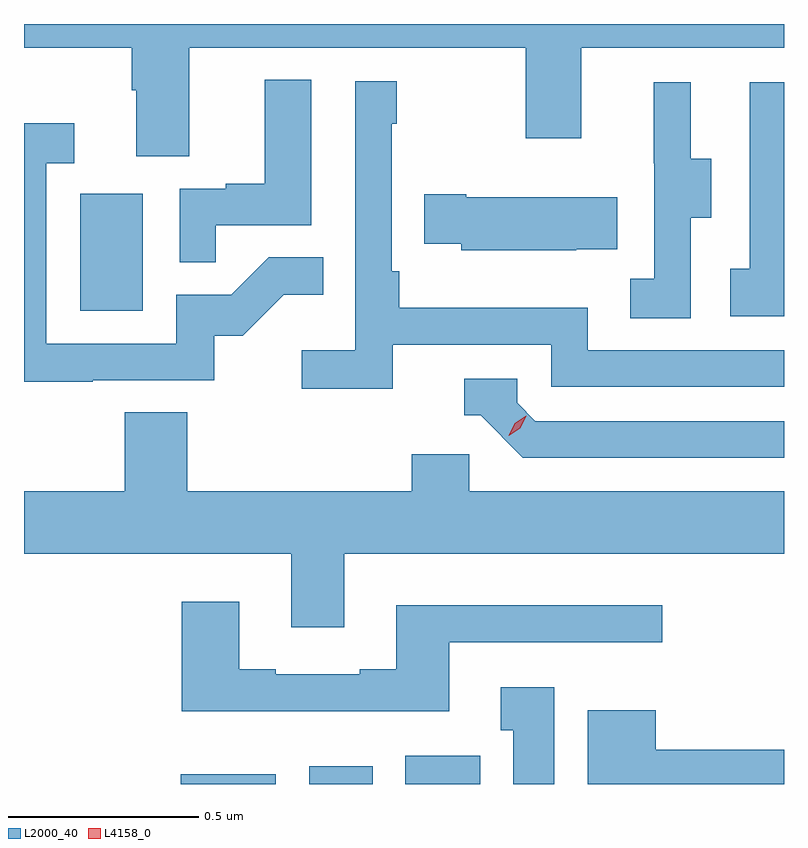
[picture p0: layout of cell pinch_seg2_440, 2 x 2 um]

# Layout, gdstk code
import gdstk
lib = gdstk.Library(unit=1e-6, precision=1e-09)
def R(c, l, rs):  # rectangles x0, y0, x1, y1
    for r in rs: c.add(gdstk.rectangle(r[:2], r[2:], *l))
def P(c, l, *ps):  # polygons
    for p in ps: c.add(gdstk.Polygon(p, *l))
L2000_40 = (2000, 40)
L4158_0 = (4158, 0)

pinch_seg2_440 = lib.new_cell('pinch_seg2_440')
R(pinch_seg2_440, L2000_40, [(942.362,617.726,942.613,617.752), (942.701,617.726,942.868,617.773), (942.953,617.726,943.15,617.8), (942.098,618.972,942.262,619.279)])
P(pinch_seg2_440, L2000_40, [(942.385,619.664),(943.27,619.664),(943.27,619.425),(943.417,619.425),(943.417,619.664),(943.95,619.664),(943.95,619.726),(941.95,619.726),(941.95,619.664),(942.233,619.664),(942.233,619.552),(942.245,619.552),(942.245,619.378),(942.385,619.378)],
  [(942.455,619.197),(942.706,619.197),(942.706,619.579),(942.584,619.579),(942.584,619.306),(942.481,619.306),(942.481,619.293),(942.36,619.293),(942.36,619.099),(942.455,619.099)],
  [(942.92,618.882),(943.338,618.882),(943.338,618.771),(943.95,618.771),(943.95,618.867),(943.434,618.867),(943.434,618.979),(942.938,618.979),(942.938,619.075),(942.918,619.075),(942.918,619.463),(942.931,619.463),(942.931,619.576),(942.822,619.576),(942.822,618.868),(942.681,618.868),(942.681,618.766),(942.92,618.766)],
  [(943.95,619.573),(943.86,619.573),(943.86,619.082),(943.809,619.082),(943.809,618.957),(943.95,618.957)],
  [(943.704,619.216),(943.759,619.216),(943.759,619.371),(943.705,619.371),(943.705,619.573),(943.607,619.573),(943.607,619.359),(943.608,619.359),(943.608,619.055),(943.545,619.055),(943.545,618.952),(943.704,618.952)],
  [(942.131,618.789),(942.45,618.789),(942.45,618.906),(942.526,618.906),(942.633,619.013),(942.737,619.013),(942.737,619.112),(942.594,619.112),(942.496,619.014),(942.351,619.014),(942.351,618.885),(942.009,618.885),(942.009,619.359),(942.082,619.359),(942.082,619.465),(941.95,619.465),(941.95,618.784),(942.131,618.784)],
  [(943.403,619.133),(943.511,619.133),(943.511,619.27),(943.114,619.27),(943.114,619.278),(943.003,619.278),(943.003,619.148),(943.101,619.148),(943.101,619.13),(943.403,619.13)],
  [(943.95,618.681),(943.296,618.681),(943.248,618.729),(943.248,618.792),(943.109,618.792),(943.109,618.696),(943.152,618.696),(943.263,618.585),(943.95,618.585)],
  [(942.793,618.332),(943.95,618.332),(943.95,618.496),(943.122,618.496),(943.122,618.594),(942.971,618.594),(942.971,618.496),(942.38,618.496),(942.38,618.704),(942.215,618.704),(942.215,618.496),(941.95,618.496),(941.95,618.332),(942.653,618.332),(942.653,618.138),(942.793,618.138)],
  [(943.069,618.099),(943.63,618.099),(943.63,618.196),(942.929,618.196),(942.929,618.028),(942.833,618.028),(942.833,618.015),(942.613,618.015),(942.613,618.028),(942.517,618.028),(942.517,618.205),(942.365,618.205),(942.365,617.918),(943.069,617.918)],
  [(943.345,617.98),(943.205,617.98),(943.205,617.867),(943.238,617.867),(943.238,617.726),(943.345,617.726)],
  [(943.95,617.816),(943.612,617.816),(943.612,617.92),(943.433,617.92),(943.433,617.726),(943.95,617.726)])
P(pinch_seg2_440, L4158_0, [(943.225,618.643),(943.225,618.643),(943.241,618.676),(943.272,618.695),(943.272,618.695),(943.272,618.695),(943.256,618.662),(943.225,618.643)])

lib.write_gds('pinch_seg2_440.gds')
